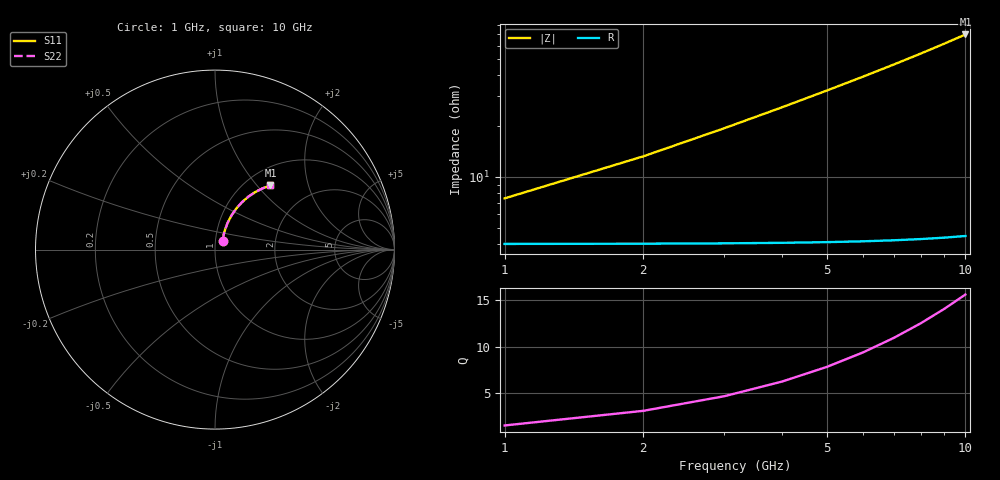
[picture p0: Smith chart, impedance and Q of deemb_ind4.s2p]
! Created Tue Nov  2 11:41:16 2021
# hz S ma R 50
! 2 Port Network Data from SP1.SP block
! freq  magS11  angS11  magS21  angS21  magS12  angS12  magS22  angS22
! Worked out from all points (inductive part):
!   10 points, 1 GHz to 10 GHz, reference 50 ohm
!   read as 1/Y11, port 2 shorted: L = 1.01 nH near 2 GHz
!   highest Q = 15.6 at 10 GHz (marker M1), where L = 1.11 nH
1e9  0.06528 50.1  0.9602 -3.9  0.9602 -3.9  0.06528 50.1
2e9  0.1119 62.3  0.9563 -7.8  0.9563 -7.8  0.1119 62.3
3e9  0.1613 64.8  0.9499 -11.7  0.9499 -11.7  0.1613 64.8
4e9  0.2105 64.3  0.9412 -15.6  0.9412 -15.6  0.2105 64.3
5e9  0.2588 62.6  0.9302 -19.3  0.9302 -19.3  0.2588 62.6
6e9  0.3055 60.3  0.9173 -23.1  0.9173 -23.1  0.3055 60.3
7e9  0.3503 57.7  0.9026 -26.7  0.9026 -26.7  0.3503 57.7
8e9  0.3932 54.9  0.8865 -30.3  0.8865 -30.3  0.3932 54.9
9e9  0.4338 52.0  0.8692 -33.7  0.8692 -33.7  0.4338 52.0
1e10  0.4722 49.2  0.8508 -37.1  0.8508 -37.1  0.4722 49.2
